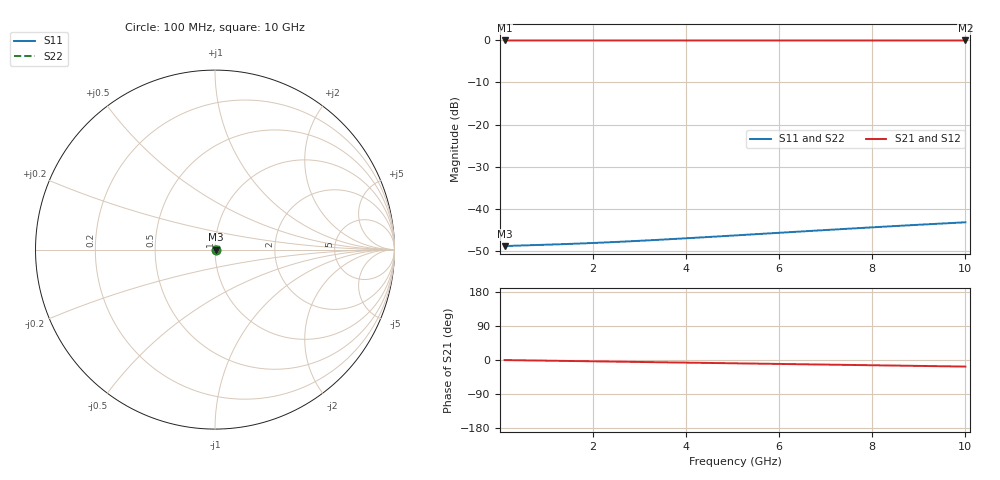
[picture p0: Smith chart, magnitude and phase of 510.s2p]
# Hz S RI R 50.00
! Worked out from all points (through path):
!   100 points, 100 MHz to 10 GHz, reference 50 ohm
!   highest |S21| = -0.03 dB at 100 MHz (marker M1); lowest = 0.0 dB at 10 GHz (marker M2)
!   group delay of S21, straight-line fit = 4.82 ps
!   lowest |S11| = -48.8 dB at 100 MHz (marker M3), VSWR 1.01, Z = 50.4 + j0.00487 ohm
!   |S11| at or under -10 dB: start of sweep to end of sweep
!   |S22| runs from -48.8 to -43.2 dB; largest |S21 - S12| = 0
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1e8  0.00361 4.84e-05  0.9964 -0.00301  0.9964 -0.00301  0.00361 4.84e-05
2e8  0.00363 9.66e-05  0.9963 -0.00602  0.9963 -0.00602  0.00363 9.66e-05
3e8  0.00365 0.000145  0.9963 -0.00903  0.9963 -0.00903  0.00365 0.000145
5e8  0.00368 0.000241  0.9962 -0.0151  0.9962 -0.0151  0.00368 0.000241
9e8  0.00372 0.000432  0.9959 -0.0271  0.9959 -0.0271  0.00372 0.000432
1.2e9  0.00375 0.000575  0.9956 -0.0361  0.9956 -0.0361  0.00375 0.000575
1.5e9  0.00377 0.000717  0.9952 -0.0451  0.9952 -0.0451  0.00377 0.000717
1.8e9  0.0038 0.000859  0.9947 -0.0542  0.9947 -0.0542  0.0038 0.000859
2.2e9  0.00384 0.00105  0.994 -0.0662  0.994 -0.0662  0.00384 0.00105
2.6e9  0.00389 0.00123  0.9931 -0.0782  0.9931 -0.0782  0.00389 0.00123
3e9  0.00393 0.00142  0.992 -0.0902  0.992 -0.0902  0.00393 0.00142
3.4e9  0.00398 0.0016  0.9908 -0.1022  0.9908 -0.1022  0.00398 0.0016
3.8e9  0.00404 0.00178  0.9895 -0.1142  0.9895 -0.1142  0.00404 0.00178
4.2e9  0.0041 0.00196  0.988 -0.1261  0.988 -0.1261  0.0041 0.00196
4.6e9  0.00416 0.00214  0.9864 -0.1381  0.9864 -0.1381  0.00416 0.00214
5.1e9  0.00425 0.00236  0.9842 -0.153  0.9842 -0.153  0.00425 0.00236
5.9e9  0.0044 0.00271  0.9802 -0.1767  0.9802 -0.1767  0.0044 0.00271
6.7e9  0.00457 0.00304  0.9755 -0.2004  0.9755 -0.2004  0.00457 0.00304
7.6e9  0.00478 0.00341  0.9697 -0.2269  0.9697 -0.2269  0.00478 0.00341
8.4e9  0.00498 0.00372  0.9638 -0.2503  0.9638 -0.2503  0.00498 0.00372
9.2e9  0.0052 0.00402  0.9574 -0.2736  0.9574 -0.2736  0.0052 0.00402
1e10  0.00543 0.0043  0.9505 -0.2967  0.9505 -0.2967  0.00543 0.0043
